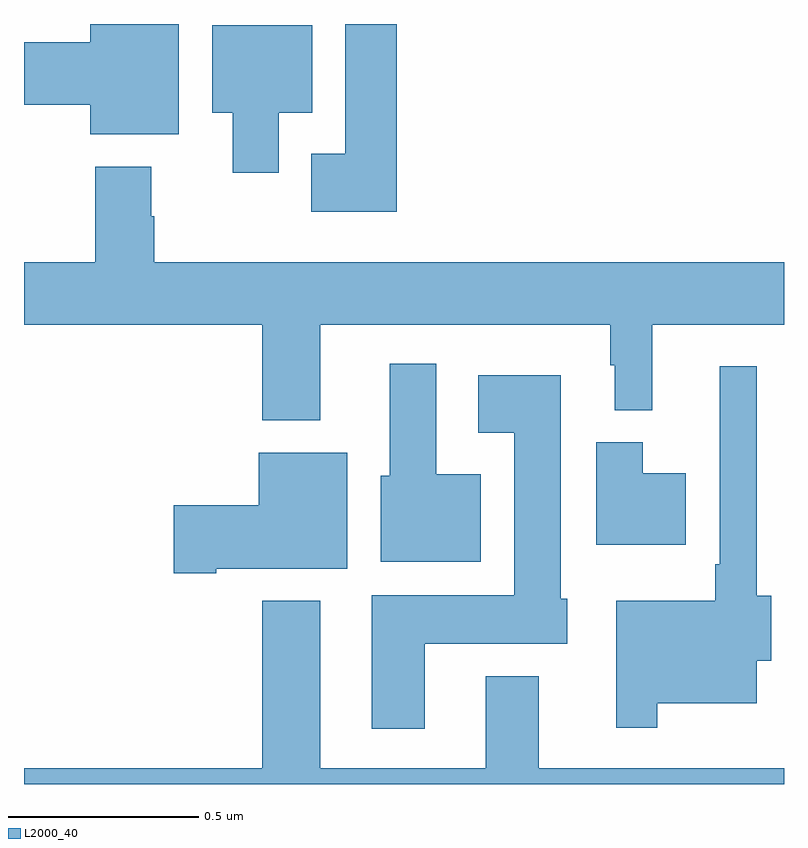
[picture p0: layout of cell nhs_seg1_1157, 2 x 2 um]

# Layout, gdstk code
import gdstk
lib = gdstk.Library(unit=1e-6, precision=1e-09)
def P(c, l, *ps):  # polygons
    for p in ps: c.add(gdstk.Polygon(p, *l))
L2000_40 = (2000, 40)

nhs_seg1_1157 = lib.new_cell('nhs_seg1_1157')
P(nhs_seg1_1157, L2000_40, [(125.407,543.199),(125.174,543.199),(125.174,543.151),(125,543.151),(125,542.986),(125.174,542.986),(125.174,542.909),(125.407,542.909)],
  [(125.981,543.199),(125.846,543.199),(125.846,542.857),(125.756,542.857),(125.756,542.705),(125.981,542.705)],
  [(125.671,542.966),(125.758,542.966),(125.758,543.196),(125.495,543.196),(125.495,542.966),(125.549,542.966),(125.549,542.808),(125.671,542.808)],
  [(125.779,542.408),(126.543,542.408),(126.543,542.301),(126.554,542.301),(126.554,542.183),(126.653,542.183),(126.653,542.408),(127,542.408),(127,542.572),(125.343,542.572),(125.343,542.693),(125.335,542.693),(125.335,542.824),(125.188,542.824),(125.188,542.572),(125,542.572),(125,542.408),(125.627,542.408),(125.627,542.156),(125.779,542.156)],
  [(126.202,542.014),(126.085,542.014),(126.085,542.305),(125.963,542.305),(125.963,542.01),(125.939,542.01),(125.939,541.784),(126.202,541.784)],
  [(126.667,541.412),(126.928,541.412),(126.928,541.523),(126.967,541.523),(126.967,541.694),(126.928,541.694),(126.928,542.299),(126.831,542.299),(126.831,541.777),(126.819,541.777),(126.819,541.681),(126.558,541.681),(126.558,541.347),(126.667,541.347)],
  [(126.055,541.568),(126.43,541.568),(126.43,541.686),(126.412,541.686),(126.412,542.275),(126.195,542.275),(126.195,542.123),(126.29,542.123),(126.29,541.696),(125.915,541.696),(125.915,541.344),(126.055,541.344)],
  [(126.742,542.017),(126.628,542.017),(126.628,542.098),(126.506,542.098),(126.506,541.829),(126.742,541.829)],
  [(125.506,541.766),(125.851,541.766),(125.851,542.071),(125.618,542.071),(125.618,541.932),(125.394,541.932),(125.394,541.754),(125.506,541.754)],
  [(127,541.24),(126.355,541.24),(126.355,541.483),(126.215,541.483),(126.215,541.24),(125.779,541.24),(125.779,541.681),(125.627,541.681),(125.627,541.24),(125,541.24),(125,541.199),(127,541.199)])

lib.write_gds('nhs_seg1_1157.gds')
